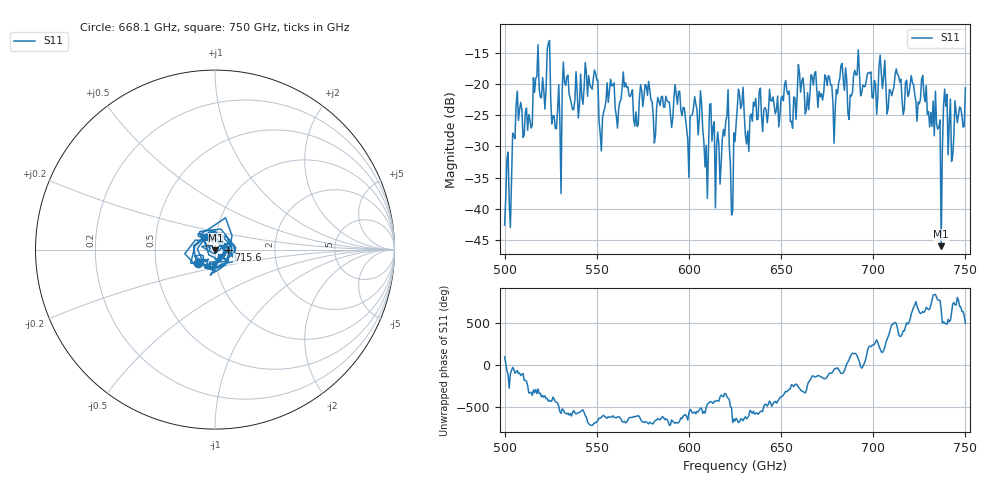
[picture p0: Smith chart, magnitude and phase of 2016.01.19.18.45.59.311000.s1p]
!Created with skrf (http://scikit-rf.org).
# GHz S RI R 50.0
!freq ReS11 ImS11
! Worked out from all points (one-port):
!   401 points, 500 GHz to 750 GHz, reference 50 ohm
!   lowest |S11| = -45.9 dB at 736.9 GHz (marker M1), VSWR 1.01, Z = 50.2 - j0.475 ohm
!   |S11| at or under -10 dB: start of sweep to end of sweep
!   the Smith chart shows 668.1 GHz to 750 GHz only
!   S11 on the Smith chart (normalised r, x): 668.1 GHz: 0.82, -0.12; 715.6 GHz: 1.16, -0.01; 750 GHz: 0.87, +0.12
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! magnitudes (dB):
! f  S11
! 500 GHz  -42.6
! 507.5 GHz  -25.9
! 513.8 GHz  -25.8
! 516.9 GHz  -19.1
! 531.2 GHz  -20.9
! 533.1 GHz  -20.2
! 552.5 GHz  -30.7
! 562.5 GHz  -22.9
! 593.8 GHz  -23.3
! 599.4 GHz  -28.9
! 605.6 GHz  -25.7
! 609.4 GHz  -29.8
! 612.5 GHz  -29.2
! 615.6 GHz  -27.7
! 620 GHz  -26.0
! 623.1 GHz  -41.0
! 625 GHz  -29.2
! 628.1 GHz  -24.0
! 631.9 GHz  -27.5
! 656.2 GHz  -27.1
! 668.1 GHz  -18.4
! 687.5 GHz  -21.8
! 691.2 GHz  -18.5
! 715.6 GHz  -22.5
! 718.8 GHz  -22.0
! 736.9 GHz  -45.9
! 738.8 GHz  -20.8
! 750 GHz  -20.6
